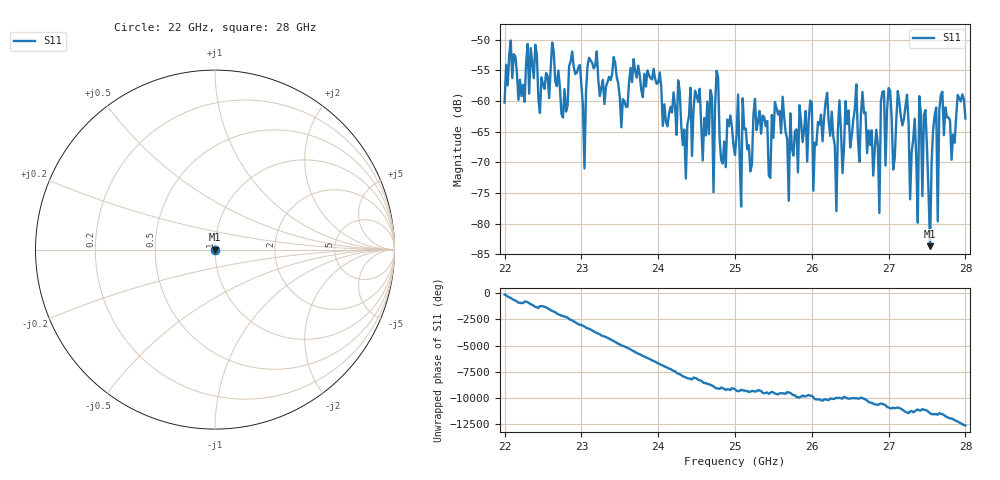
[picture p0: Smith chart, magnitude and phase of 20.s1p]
#  HZ  S  RI  R  50.00
! Rohde & Schwarz ZVA40 4Ports - Version 3.90 - 1145.1110k42 SN: 100403
! Date: 2023-10-04 08:11:08
! Measurement: S12
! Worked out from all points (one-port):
!   301 points, 22 GHz to 28 GHz, reference 50 ohm
!   lowest |S11| = -83.7 dB at 27.54 GHz (marker M1), VSWR 1.00, Z = 50 + j0.00655 ohm
!   |S11| at or under -10 dB: start of sweep to end of sweep
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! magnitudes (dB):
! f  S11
! 22 GHz  -60.3
! 22.62 GHz  -50.5
! 22.76 GHz  -62.7
! 23.5 GHz  -59.4
! 24.26 GHz  -56.6
! 24.36 GHz  -72.6
! 24.42 GHz  -57.8
! 24.58 GHz  -69.7
! 24.68 GHz  -58.2
! 24.72 GHz  -74.9
! 24.76 GHz  -55.1
! 25 GHz  -68.8
! 25.76 GHz  -68.9
! 26.5 GHz  -67.6
! 26.66 GHz  -58.5
! 26.88 GHz  -78.3
! 26.92 GHz  -58.5
! 27.26 GHz  -63.5
! 27.34 GHz  -62.9
! 27.38 GHz  -79.8
! 27.4 GHz  -59.2
! 27.44 GHz  -75.5
! 27.48 GHz  -61.5
! 27.54 GHz  -83.7
! 27.62 GHz  -61.1
! 27.64 GHz  -79.6
! 27.68 GHz  -59.0
! 28 GHz  -62.9
